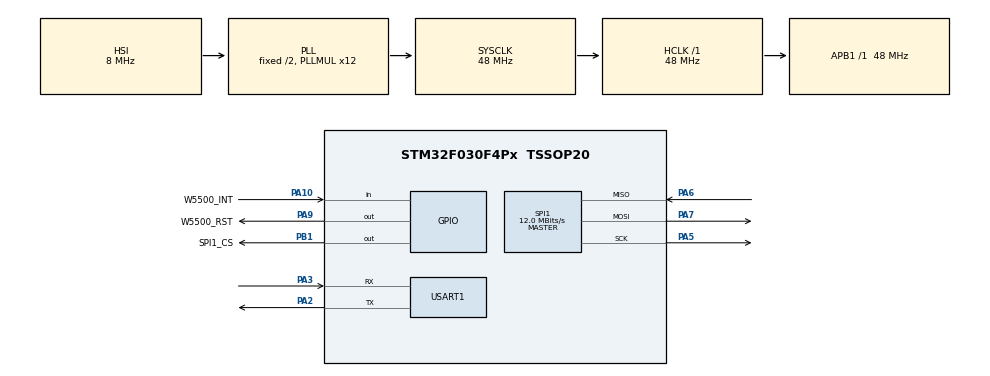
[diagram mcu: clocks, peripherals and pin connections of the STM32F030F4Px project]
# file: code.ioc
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Mcu.Family=STM32F0
Mcu.Name=STM32F030F4Px
Mcu.Package=TSSOP20
PA10.GPIO_Label=W5500_INT
PA10.Signal=GPIO_Input
PA13.Mode=Serial_Wire
PA13.Signal=SYS_SWDIO
PA14.Mode=Serial_Wire
PA14.Signal=SYS_SWCLK
PA2.Mode=Asynchronous
PA2.Signal=USART1_TX
PA3.Mode=Asynchronous
PA3.Signal=USART1_RX
PA5.Mode=Full_Duplex_Master
PA5.Signal=SPI1_SCK
PA6.Mode=Full_Duplex_Master
PA6.Signal=SPI1_MISO
PA7.Mode=Full_Duplex_Master
PA7.Signal=SPI1_MOSI
PA9.GPIO_Label=W5500_RST
PA9.GPIO_PuPd=GPIO_PULLUP
PA9.PinState=GPIO_PIN_SET
PA9.Signal=GPIO_Output
PB1.GPIO_Label=SPI1_CS
PB1.GPIO_PuPd=GPIO_PULLUP
PB1.PinState=GPIO_PIN_SET
PB1.Signal=GPIO_Output
PF0-OSC_IN.Mode=HSE-External-Oscillator
PF0-OSC_IN.Signal=RCC_OSC_IN
PF1-OSC_OUT.Mode=HSE-External-Oscillator
PF1-OSC_OUT.Signal=RCC_OSC_OUT
ProjectManager.HeapSize=0x200
ProjectManager.StackSize=0x400
ProjectManager.TargetToolchain=TrueSTUDIO
RCC.AHBFreq_Value=48000000
RCC.APB1Freq_Value=48000000
RCC.APB1TimFreq_Value=48000000
RCC.HCLKFreq_Value=48000000
RCC.PLLMUL=RCC_PLL_MUL12
RCC.SYSCLKFreq_VALUE=48000000
RCC.SYSCLKSource=RCC_SYSCLKSOURCE_PLLCLK
SPI1.BaudRatePrescaler=SPI_BAUDRATEPRESCALER_4
SPI1.CalculateBaudRate=12.0 MBits/s
SPI1.Direction=SPI_DIRECTION_2LINES
SPI1.Mode=SPI_MODE_MASTER
SPI1.VirtualType=VM_MASTER
USART1.VirtualMode-Asynchronous=VM_ASYNC
board=custom

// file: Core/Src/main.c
/* USER CODE BEGIN Header */
/**
  ******************************************************************************
  * @file           : main.c
  * @brief          : Main program body
  ******************************************************************************
  ** This notice applies to any and all portions of this file
  * that are not between comment pairs USER CODE BEGIN and
  * USER CODE END. Other portions of this file, whether
  * inserted by the user or by software development tools
  * are owned by their respective copyright owners.
  *
  * COPYRIGHT(c) 2019 STMicroelectronics
  *
  * Redistribution and use in source and binary forms, with or without modification,
  * are permitted provided that the following conditions are met:
  *   1. Redistributions of source code must retain the above copyright notice,
  *      this list of conditions and the following disclaimer.
  *   2. Redistributions in binary form must reproduce the above copyright notice,
  *      this list of conditions and the following disclaimer in the documentation
  *      and/or other materials provided with the distribution.
  *   3. Neither the name of STMicroelectronics nor the names of its contributors
  *      may be used to endorse or promote products derived from this software
  *      without specific prior written permission.
  *
  * THIS SOFTWARE IS PROVIDED BY THE COPYRIGHT HOLDERS AND CONTRIBUTORS "AS IS"
  * AND ANY EXPRESS OR IMPLIED WARRANTIES, INCLUDING, BUT NOT LIMITED TO, THE
  * IMPLIED WARRANTIES OF MERCHANTABILITY AND FITNESS FOR A PARTICULAR PURPOSE ARE
  * DISCLAIMED. IN NO EVENT SHALL THE COPYRIGHT HOLDER OR CONTRIBUTORS BE LIABLE
  * FOR ANY DIRECT, INDIRECT, INCIDENTAL, SPECIAL, EXEMPLARY, OR CONSEQUENTIAL
  * DAMAGES (INCLUDING, BUT NOT LIMITED TO, PROCUREMENT OF SUBSTITUTE GOODS OR
  * SERVICES; LOSS OF USE, DATA, OR PROFITS; OR BUSINESS INTERRUPTION) HOWEVER
  * CAUSED AND ON ANY THEORY OF LIABILITY, WHETHER IN CONTRACT, STRICT LIABILITY,
  * OR TORT (INCLUDING NEGLIGENCE OR OTHERWISE) ARISING IN ANY WAY OUT OF THE USE
  * OF THIS SOFTWARE, EVEN IF ADVISED OF THE POSSIBILITY OF SUCH DAMAGE.
  *
  ******************************************************************************
  */
/* USER CODE END Header */

#include "main.h"

/* USER CODE BEGIN Includes */
#include "socket.h"
#include "wizchip_conf.h"
#include "w5500.h"
/* USER CODE END Includes */

SPI_HandleTypeDef hspi1;

UART_HandleTypeDef huart1;

void SystemClock_Config(void);
static void MX_GPIO_Init(void);
static void MX_SPI1_Init(void);
static void MX_USART1_UART_Init(void);

/* USER CODE BEGIN 0 */
void spi_cs_sel(void)
{
    SPI1_CS_GPIO_Port->BSRR = (uint32_t)SPI1_CS_Pin << 16;
}

void spi_cs_desel(void)
{
    SPI1_CS_GPIO_Port->BSRR = SPI1_CS_Pin;
}

uint8_t spi_rb(void)
{
    uint8_t ch = 0;

    HAL_SPI_Receive(&hspi1, &ch, 1, 10);

    return  ch;
}

void spi_wb(uint8_t ch)
{
    HAL_SPI_Transmit(&hspi1, &ch, 1, 10);
}

void ethernetInit(void)
{
    // register needed function into w5500 driver
    reg_wizchip_cs_cbfunc(spi_cs_sel, spi_cs_desel);
    reg_wizchip_spi_cbfunc(spi_rb, spi_wb);
    //reg_wizchip_spiburst_cbfunc(_w5500_spi_rburst, _w5500_spi_wburst);

    // w5500 chip init
    // sw reset
    ctlwizchip(CW_RESET_WIZCHIP, NULL);
    // init
    uint8_t sock_buf[2][8] = {{2,2,2,2,2,2,2,2},{2,2,2,2,2,2,2,2}};     // 2 means 2k
    ctlwizchip(CW_INIT_WIZCHIP, sock_buf);
    // mask all interrupt
    // we do not use the INT pin
    //setSIMR(0x05);
    //intr_kind int_mask = (intr_kind)0;
    //ctlwizchip(CW_SET_INTRMASK, &int_mask);

    // init net parameters
    wiz_NetInfo w5500_cfg;
    w5500_cfg.mac[0] = 0x00;
    w5500_cfg.mac[1] = 0x11;
    w5500_cfg.mac[2] = 0x22;
    w5500_cfg.mac[3] = 0x33;
    w5500_cfg.mac[4] = 0x44;
    w5500_cfg.mac[5] = 0x55;

	w5500_cfg.ip[0] = 192;
	w5500_cfg.ip[1] = 168;
	w5500_cfg.ip[2] = 0;
	w5500_cfg.ip[3] = 202;

    w5500_cfg.sn[0] = 255;
    w5500_cfg.sn[1] = 255;
    w5500_cfg.sn[2] = 255;
    w5500_cfg.sn[3] = 0;

    w5500_cfg.gw[0] = 192;
    w5500_cfg.gw[1] = 168;
    w5500_cfg.gw[2] = 0;
    w5500_cfg.gw[3] = 1;

    w5500_cfg.dhcp = NETINFO_STATIC;

    ctlnetwork(CN_SET_NETINFO, &w5500_cfg);
    // set timeout
    wiz_NetTimeout w5500_timeout = {8, 30000};      // 8 times * 3000ms
    ctlnetwork(CN_SET_TIMEOUT, &w5500_timeout);
}
/* USER CODE END 0 */

int main(void)
{

  /* MCU Configuration--------------------------------------------------------*/

  /* Reset of all peripherals, Initializes the Flash interface and the Systick. */
  HAL_Init();

  /* Configure the system clock */
  SystemClock_Config();

  /* Initialize all configured peripherals */
  MX_GPIO_Init();
  MX_SPI1_Init();
  MX_USART1_UART_Init();
  /* USER CODE BEGIN 2 */
  ethernetInit();
  /* USER CODE END 2 */

  /* Infinite loop */
  while (1)
  {

  }
}

void SystemClock_Config(void)
{
  RCC_OscInitTypeDef RCC_OscInitStruct = {0};
  RCC_ClkInitTypeDef RCC_ClkInitStruct = {0};
  RCC_PeriphCLKInitTypeDef PeriphClkInit = {0};

  /**Initializes the CPU, AHB and APB busses clocks
  */
  RCC_OscInitStruct.OscillatorType = RCC_OSCILLATORTYPE_HSI;
  RCC_OscInitStruct.HSIState = RCC_HSI_ON;
  RCC_OscInitStruct.HSICalibrationValue = RCC_HSICALIBRATION_DEFAULT;
  RCC_OscInitStruct.PLL.PLLState = RCC_PLL_ON;
  RCC_OscInitStruct.PLL.PLLSource = RCC_PLLSOURCE_HSI;
  RCC_OscInitStruct.PLL.PLLMUL = RCC_PLL_MUL12;
  RCC_OscInitStruct.PLL.PREDIV = RCC_PREDIV_DIV1;
  if (HAL_RCC_OscConfig(&RCC_OscInitStruct) != HAL_OK)
  {
    Error_Handler();
  }
  /**Initializes the CPU, AHB and APB busses clocks
  */
  RCC_ClkInitStruct.ClockType = RCC_CLOCKTYPE_HCLK|RCC_CLOCKTYPE_SYSCLK
                              |RCC_CLOCKTYPE_PCLK1;
  RCC_ClkInitStruct.SYSCLKSource = RCC_SYSCLKSOURCE_PLLCLK;
  RCC_ClkInitStruct.AHBCLKDivider = RCC_SYSCLK_DIV1;
  RCC_ClkInitStruct.APB1CLKDivider = RCC_HCLK_DIV1;

  if (HAL_RCC_ClockConfig(&RCC_ClkInitStruct, FLASH_LATENCY_1) != HAL_OK)
  {
    Error_Handler();
  }
  PeriphClkInit.PeriphClockSelection = RCC_PERIPHCLK_USART1;
  PeriphClkInit.Usart1ClockSelection = RCC_USART1CLKSOURCE_PCLK1;
  if (HAL_RCCEx_PeriphCLKConfig(&PeriphClkInit) != HAL_OK)
  {
    Error_Handler();
  }
}

static void MX_SPI1_Init(void)
{

  /* SPI1 parameter configuration*/
  hspi1.Instance = SPI1;
  hspi1.Init.Mode = SPI_MODE_MASTER;
  hspi1.Init.Direction = SPI_DIRECTION_2LINES;
  hspi1.Init.DataSize = SPI_DATASIZE_4BIT;
  hspi1.Init.CLKPolarity = SPI_POLARITY_LOW;
  hspi1.Init.CLKPhase = SPI_PHASE_1EDGE;
  hspi1.Init.NSS = SPI_NSS_SOFT;
  hspi1.Init.BaudRatePrescaler = SPI_BAUDRATEPRESCALER_4;
  hspi1.Init.FirstBit = SPI_FIRSTBIT_MSB;
  hspi1.Init.TIMode = SPI_TIMODE_DISABLE;
  hspi1.Init.CRCCalculation = SPI_CRCCALCULATION_DISABLE;
  hspi1.Init.CRCPolynomial = 7;
  hspi1.Init.CRCLength = SPI_CRC_LENGTH_DATASIZE;
  hspi1.Init.NSSPMode = SPI_NSS_PULSE_ENABLE;
  if (HAL_SPI_Init(&hspi1) != HAL_OK)
  {
    Error_Handler();
  }

}

static void MX_USART1_UART_Init(void)
{

  huart1.Instance = USART1;
  huart1.Init.BaudRate = 38400;
  huart1.Init.WordLength = UART_WORDLENGTH_8B;
  huart1.Init.StopBits = UART_STOPBITS_1;
  huart1.Init.Parity = UART_PARITY_NONE;
  huart1.Init.Mode = UART_MODE_TX_RX;
  huart1.Init.HwFlowCtl = UART_HWCONTROL_NONE;
  huart1.Init.OverSampling = UART_OVERSAMPLING_16;
  huart1.Init.OneBitSampling = UART_ONE_BIT_SAMPLE_DISABLE;
  huart1.AdvancedInit.AdvFeatureInit = UART_ADVFEATURE_NO_INIT;
  if (HAL_UART_Init(&huart1) != HAL_OK)
  {
    Error_Handler();
  }

}

static void MX_GPIO_Init(void)
{
  GPIO_InitTypeDef GPIO_InitStruct = {0};

  /* GPIO Ports Clock Enable */
  __HAL_RCC_GPIOF_CLK_ENABLE();
  __HAL_RCC_GPIOA_CLK_ENABLE();
  __HAL_RCC_GPIOB_CLK_ENABLE();

  /*Configure GPIO pin Output Level */
  HAL_GPIO_WritePin(SPI1_CS_GPIO_Port, SPI1_CS_Pin, GPIO_PIN_SET);

  /*Configure GPIO pin : SPI1_CS_Pin */
  GPIO_InitStruct.Pin = SPI1_CS_Pin;
  GPIO_InitStruct.Mode = GPIO_MODE_OUTPUT_PP;
  GPIO_InitStruct.Pull = GPIO_PULLUP;
  GPIO_InitStruct.Speed = GPIO_SPEED_FREQ_LOW;
  HAL_GPIO_Init(SPI1_CS_GPIO_Port, &GPIO_InitStruct);

}

void Error_Handler(void)
{
}

/************************ (C) COPYRIGHT STMicroelectronics *****END OF FILE****/
